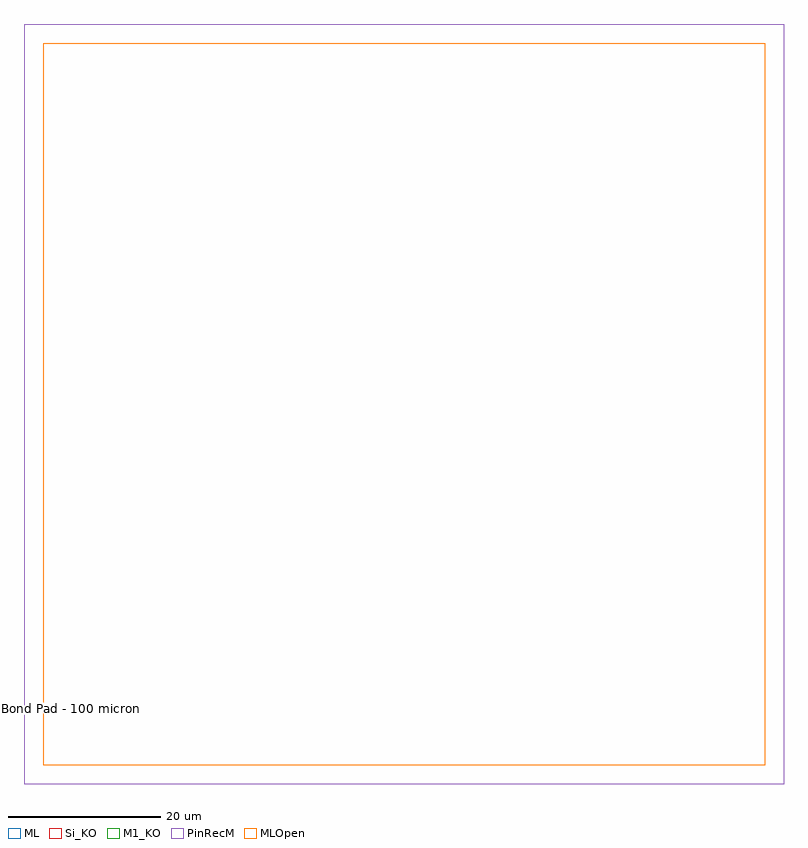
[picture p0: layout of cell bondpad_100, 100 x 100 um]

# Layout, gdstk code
import gdstk
lib = gdstk.Library(unit=1e-6, precision=1e-09)
def R(c, l, rs):  # rectangles x0, y0, x1, y1
    for r in rs: c.add(gdstk.rectangle(r[:2], r[2:], *l))
ML = (45, 0)
MLOpen = (46, 0)
M1_KO = (60, 0)
Si_KO = (63, 0)
PinRecM = (999, 10)

bondpad_100 = lib.new_cell('bondpad_100')
R(bondpad_100, ML, [(-50,0,50,100), (-2.5,0,2.5,5)])
R(bondpad_100, MLOpen, [(-47.5,2.5,47.5,97.5)])
R(bondpad_100, M1_KO, [(-50,0,50,100)])
R(bondpad_100, Si_KO, [(-50,0,50,100)])
R(bondpad_100, PinRecM, [(-50,0,50,100)])
bondpad_100.add(gdstk.Label('Bond Pad - 100 micron', (-45,10), layer=66, texttype=0))

lib.write_gds('bondpad_100.gds')
